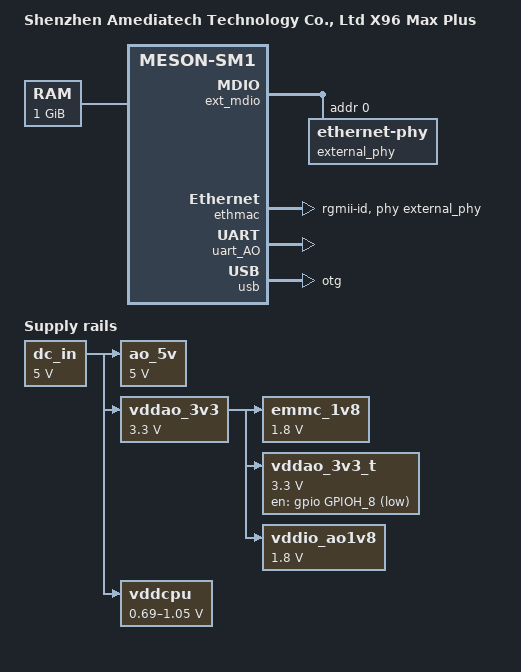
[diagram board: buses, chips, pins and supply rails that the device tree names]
// SPDX-License-Identifier: (GPL-2.0+ OR MIT)
/*
 * Copyright (c) 2022 Christian Ege. All rights reserved.
 */

/dts-v1/;

#include "meson-sm1.dtsi"
#include <dt-bindings/gpio/gpio.h>
#include <dt-bindings/input/input.h>
#include <dt-bindings/gpio/meson-g12a-gpio.h>
#include <dt-bindings/sound/meson-g12a-tohdmitx.h>

/ {
	compatible = "amediatech,x96-max-plus", "amlogic,sm1";
	model = "Shenzhen Amediatech Technology Co., Ltd X96 Max Plus";

	aliases {
		serial0 = &uart_AO;
		ethernet0 = &ethmac;
	};

	chosen {
		stdout-path = "serial0:115200n8";
	};

	memory@0 {
		device_type = "memory";
		reg = <0x0 0x0 0x0 0x40000000>;
	};

	ao_5v: regulator-ao_5v {
		compatible = "regulator-fixed";
		regulator-name = "AO_5V";
		regulator-min-microvolt = <5000000>;
		regulator-max-microvolt = <5000000>;
		vin-supply = <&dc_in>;
		regulator-always-on;
	};

	dc_in: regulator-dc_in {
		compatible = "regulator-fixed";
		regulator-name = "DC_IN";
		regulator-min-microvolt = <5000000>;
		regulator-max-microvolt = <5000000>;
		regulator-always-on;
	};

	emmc_1v8: regulator-emmc_1v8 {
		compatible = "regulator-fixed";
		regulator-name = "EMMC_1V8";
		regulator-min-microvolt = <1800000>;
		regulator-max-microvolt = <1800000>;
		vin-supply = <&vddao_3v3>;
		regulator-always-on;
	};

	vddao_3v3: regulator-vddao_3v3 {
		compatible = "regulator-fixed";
		regulator-name = "VDDAO_3V3";
		regulator-min-microvolt = <3300000>;
		regulator-max-microvolt = <3300000>;
		vin-supply = <&dc_in>;
		regulator-always-on;
	};

	/* Used by Tuner, RGB Led & IR Emitter LED array */
	vddao_3v3_t: regulator-vddao_3v3_t {
		compatible = "regulator-fixed";
		regulator-name = "VDDAO_3V3_T";
		regulator-min-microvolt = <3300000>;
		regulator-max-microvolt = <3300000>;
		vin-supply = <&vddao_3v3>;
		gpio = <&gpio GPIOH_8 GPIO_OPEN_DRAIN>;
		enable-active-low;
		regulator-always-on;
	};

	vddcpu: regulator-vddcpu {
		/*
		 * SY8120B1ABC DC/DC Regulator.
		 */
		compatible = "pwm-regulator";

		regulator-name = "VDDCPU";
		regulator-min-microvolt = <690000>;
		regulator-max-microvolt = <1050000>;

		pwm-supply = <&dc_in>;

		pwms = <&pwm_AO_cd 1 1500 0>;
		pwm-dutycycle-range = <100 0>;

		regulator-boot-on;
		regulator-always-on;
	};

	vddio_ao1v8: regulator-vddio_ao1v8 {
		compatible = "regulator-fixed";
		regulator-name = "VDDIO_AO1V8";
		regulator-min-microvolt = <1800000>;
		regulator-max-microvolt = <1800000>;
		vin-supply = <&vddao_3v3>;
		regulator-always-on;
	};

	reserved-memory {
		/* TEE Reserved Memory */
		bl32_reserved: bl32@5000000 {
			reg = <0x0 0x05300000 0x0 0x2000000>;
			no-map;
		};
	};
};

&ext_mdio {
	external_phy: ethernet-phy@0 {
		/* Realtek RTL8211F (0x001cc916) */
		reg = <0>;
		max-speed = <1000>;

		interrupt-parent = <&gpio_intc>;
		/* MAC_INTR on GPIOZ_14 */
		interrupts = <26 IRQ_TYPE_LEVEL_LOW>;
	};
};

&ethmac {
	pinctrl-0 = <&eth_pins>;
	pinctrl-names = "default";
	status = "okay";
	phy-mode = "rgmii-id";
	phy-handle = <&external_phy>;
	interrupts = <0x00 0x08 0x01>;
	amlogic,rx-internal-delay-ps = <0>;
};

&cpu0 {
	cpu-supply = <&vddcpu>;
	operating-points-v2 = <&cpu_opp_table>;
	clocks = <&clkc CLKID_CPU_CLK>;
	clock-latency = <50000>;
};

&cpu1 {
	cpu-supply = <&vddcpu>;
	operating-points-v2 = <&cpu_opp_table>;
	clocks = <&clkc CLKID_CPU1_CLK>;
	clock-latency = <50000>;
};

&cpu2 {
	cpu-supply = <&vddcpu>;
	operating-points-v2 = <&cpu_opp_table>;
	clocks = <&clkc CLKID_CPU2_CLK>;
	clock-latency = <50000>;
};

&cpu3 {
	cpu-supply = <&vddcpu>;
	operating-points-v2 = <&cpu_opp_table>;
	clocks = <&clkc CLKID_CPU3_CLK>;
	clock-latency = <50000>;
};

&uart_AO {
	status = "okay";
	pinctrl-0 = <&uart_ao_a_pins>;
	pinctrl-names = "default";
};

&usb {
	status = "okay";
	dr_mode = "otg";
};
